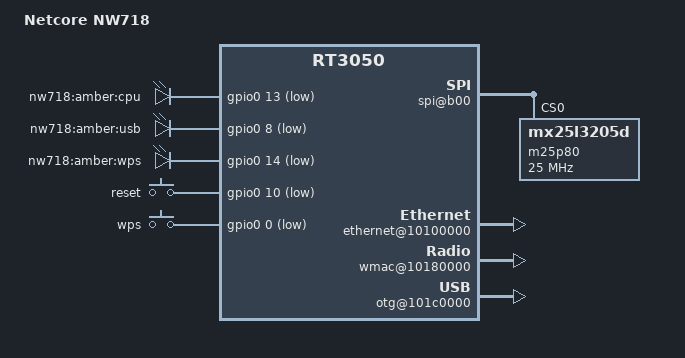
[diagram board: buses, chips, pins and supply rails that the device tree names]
/dts-v1/;

/include/ "rt3050.dtsi"

/ {
	#address-cells = <1>;
	#size-cells = <1>;
	compatible = "NW718", "ralink,rt3050-soc";
	model = "Netcore NW718";

	memorydetect {
		ralink,memory = <0x0 0x200000 0x4000000>;
	};

	chosen {
		bootargs = "console=ttyS0,57600 mtdparts=spi0.0:192k(u-boot)ro,128k(config)ro,64k(factory)ro,3712k@0x60000(firmware)";
	};

	palmbus@10000000 {
		sysc@0 {
			ralink,pinmmux = "spi", "uartlite", "jtag", "mdio", "sdram", "rgmii";
			ralink,gpiommux = "i2c";
			ralink,uartmux = "gpio";
			ralink,wdtmux = <1>;
		};

		gpio0: gpio@600 {
			status = "okay";
		};

		spi@b00 {
			status = "okay";
			m25p80@0 {
				#address-cells = <1>;
				#size-cells = <1>;
				compatible = "mx25l3205d";
				reg = <0 0>;
				linux,modalias = "m25p80", "mx25l3205d";
				spi-max-frequency = <25000000>;
			};
		};
	};

	ethernet@10100000 {
		status = "okay";
	};

	esw@10110000 {
		status = "okay";
		ralink,portmap = <0x2f>;
	};

	gpio-leds {
		compatible = "gpio-leds";
		cpu {
			label = "nw718:amber:cpu";
			gpios = <&gpio0 13 1>;
		};
		usb {
			label = "nw718:amber:usb";
			gpios = <&gpio0 8 1>;
		};
		wps {
			label = "nw718:amber:wps";
			gpios = <&gpio0 14 1>;
		};
	};

	gpio-keys-polled {
		compatible = "gpio-keys-polled";
		#address-cells = <1>;
		#size-cells = <0>;
		poll-interval = <20>;
		reset {
			label = "reset";
			gpios = <&gpio0 10 1>;
			linux,code = <0x198>;
		};
		wps {
			label = "wps";
			gpios = <&gpio0 0 1>;
			linux,code = <0x211>;
		};
	};

	wmac@10180000 {
		status = "okay";
	};

	otg@101c0000 {
		status = "okay";
	};
};
